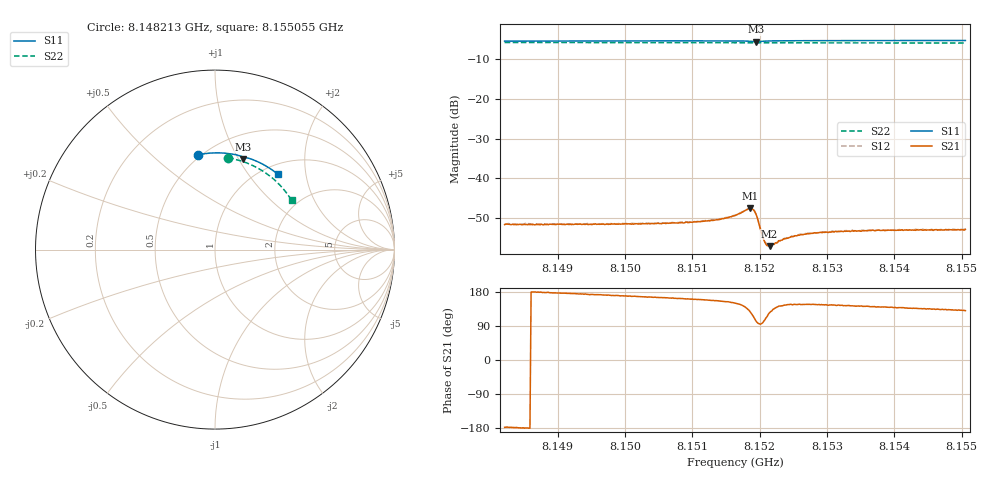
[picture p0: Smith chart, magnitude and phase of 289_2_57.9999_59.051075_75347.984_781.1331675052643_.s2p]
#  HZ  S  RI  R  50.00
! Rohde & Schwarz Vector Network Analyzer
! Rohde-Schwarz,ZNB20-2Port,1311601062101988,3.16
! Created: UTC 3/21/2024, 1:03:12 AM
! freq[Hz]  re:S11  im:S11  re:S21  im:S21  re:S12  im:S12  re:S22  im:S22
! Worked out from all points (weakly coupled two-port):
!   401 points, 8.148213 GHz to 8.155055 GHz, reference 50 ohm
!   highest |S21| = -47.54 dB at 8.151856 GHz (marker M1); lowest = -57.0 dB at 8.152147 GHz (marker M2)
!   lowest |S11| = -5.5 dB at 8.151942 GHz (marker M3), VSWR 3.25, Z = 37.2 + j52.3 ohm
!   |S11| at or under -10 dB: nowhere
!   |S22| runs from -5.9 to -5.8 dB; largest |S21 - S12| = 0.00012
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8.1482126e9  -0.0949 0.528  -0.00262 -0.000108  -0.00266 -9.06e-05  0.0725 0.5107
8.1493586e9  -0.0155 0.5383  -0.00261 0.000271  -0.00269 0.000313  0.1454 0.4939
8.1505047e9  0.0643 0.5365  -0.00261 0.000713  -0.00264 0.000755  0.2146 0.4663
8.1509666e9  0.0964 0.5325  -0.00264 0.000935  -0.00267 0.000948  0.2411 0.4526
8.1512574e9  0.1169 0.5285  -0.0027 0.00111  -0.00271 0.00118  0.2573 0.4432
8.1514284e9  0.1292 0.5258  -0.00279 0.00129  -0.00283 0.00135  0.2666 0.4374
8.1516337e9  0.1443 0.521  -0.00295 0.00169  -0.00296 0.00174  0.2777 0.4301
8.151856e9  0.1588 0.5096  -0.00258 0.00331  -0.00251 0.00334  0.2893 0.4215
8.1519074e9  0.1583 0.5059  -0.00167 0.00366  -0.00163 0.00375  0.2917 0.4196
8.1519416e9  0.1569 0.5056  -0.000866 0.0035  -0.000832 0.00351  0.2935 0.4184
8.1519758e9  0.1561 0.5071  -0.000356 0.00292  -0.000354 0.00298  0.295 0.4173
8.1520271e9  0.1581 0.5101  -0.000211 0.00205  -0.000154 0.00207  0.2977 0.4153
8.1520613e9  0.1606 0.5115  -0.000365 0.00164  -0.000337 0.00165  0.2995 0.4144
8.1520955e9  0.1636 0.5124  -0.000536 0.00137  -0.000544 0.00143  0.3012 0.413
8.1521468e9  0.1679 0.5126  -0.000804 0.00116  -0.000797 0.00115  0.304 0.4111
8.1523179e9  0.1815 0.5104  -0.00133 0.000999  -0.00131 0.00103  0.3128 0.4042
8.1524034e9  0.1879 0.5087  -0.00145 0.000997  -0.00146 0.00104  0.317 0.4008
8.1525745e9  0.1998 0.5049  -0.00161 0.00105  -0.00162 0.00108  0.3254 0.3937
8.1527798e9  0.2136 0.4999  -0.0017 0.00111  -0.00168 0.00116  0.3353 0.385
8.1532587e9  0.2445 0.4863  -0.00175 0.00129  -0.00176 0.00131  0.3571 0.3638
8.1539258e9  0.2854 0.4648  -0.00168 0.00146  -0.00171 0.00149  0.3854 0.3322
8.1550548e9  0.3496 0.4207  -0.00148 0.00174  -0.00147 0.00173  0.4268 0.2741
